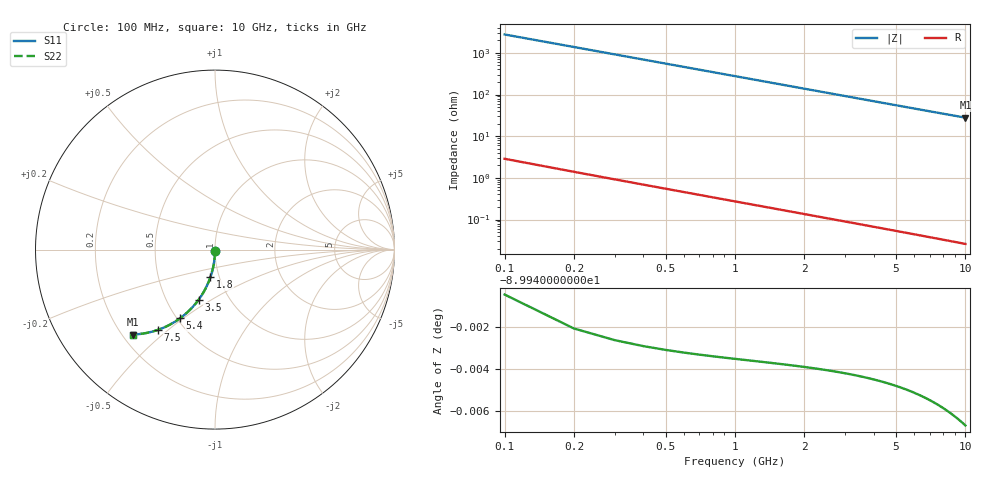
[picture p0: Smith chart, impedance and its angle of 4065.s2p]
# Hz S RI R 50.00
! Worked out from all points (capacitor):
!   100 points, 100 MHz to 10 GHz, reference 50 ohm
!   read as one part in shunt: C = 576 fF near 100 MHz
!   lowest |Z| = 27.9 ohm at 10 GHz (marker M1)
!   S11 on the Smith chart (normalised r, x): 100 MHz: 1.00, -0.02; 1.8 GHz: 0.91, -0.29; 3.5 GHz: 0.72, -0.44; 5.4 GHz: 0.52, -0.49; 7.5 GHz: 0.36, -0.46; 10 GHz: 0.24, -0.40
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1e8  -3.3e-05 -0.00881  0.9999 -0.00929  0.9999 -0.00929  -3.3e-05 -0.00881
2e8  -0.000287 -0.0176  0.9996 -0.0186  0.9996 -0.0186  -0.000287 -0.0176
3e8  -0.000705 -0.0264  0.9992 -0.0279  0.9992 -0.0279  -0.000705 -0.0264
4e8  -0.00129 -0.0352  0.9986 -0.0371  0.9986 -0.0371  -0.00129 -0.0352
5e8  -0.00203 -0.044  0.9978 -0.0464  0.9978 -0.0464  -0.00203 -0.044
6e8  -0.00293 -0.0527  0.9969 -0.0556  0.9969 -0.0556  -0.00293 -0.0527
8e8  -0.00523 -0.0701  0.9946 -0.074  0.9946 -0.074  -0.00523 -0.0701
1.1e9  -0.00986 -0.096  0.99 -0.1012  0.99 -0.1012  -0.00986 -0.096
1.4e9  -0.0159 -0.1214  0.984 -0.1281  0.984 -0.1281  -0.0159 -0.1214
1.8e9  -0.026 -0.1545  0.9739 -0.1631  0.9739 -0.1631  -0.026 -0.1545
2.1e9  -0.035 -0.1786  0.9648 -0.1886  0.9648 -0.1886  -0.035 -0.1786
2.5e9  -0.049 -0.2095  0.9508 -0.2215  0.9508 -0.2215  -0.049 -0.2095
2.9e9  -0.0648 -0.239  0.9349 -0.2529  0.9349 -0.2529  -0.0648 -0.239
3.4e9  -0.0871 -0.2735  0.9127 -0.2898  0.9127 -0.2898  -0.0871 -0.2735
3.5e9  -0.0918 -0.28  0.9079 -0.2968  0.9079 -0.2968  -0.0918 -0.28
4.3e9  -0.1326 -0.3284  0.8671 -0.3491  0.8671 -0.3491  -0.1326 -0.3284
5.1e9  -0.1772 -0.3692  0.8224 -0.3938  0.8224 -0.3938  -0.1772 -0.3692
5.4e9  -0.1946 -0.3825  0.8049 -0.4086  0.8049 -0.4086  -0.1946 -0.3825
6.7e9  -0.2718 -0.4283  0.7276 -0.4608  0.7276 -0.4608  -0.2718 -0.4283
7.5e9  -0.3191 -0.4475  0.6801 -0.484  0.6801 -0.484  -0.3191 -0.4475
8.4e9  -0.3709 -0.4622  0.6282 -0.5032  0.6282 -0.5032  -0.3709 -0.4622
1e10  -0.4564 -0.4731  0.5423 -0.5222  0.5423 -0.5222  -0.4564 -0.4731
